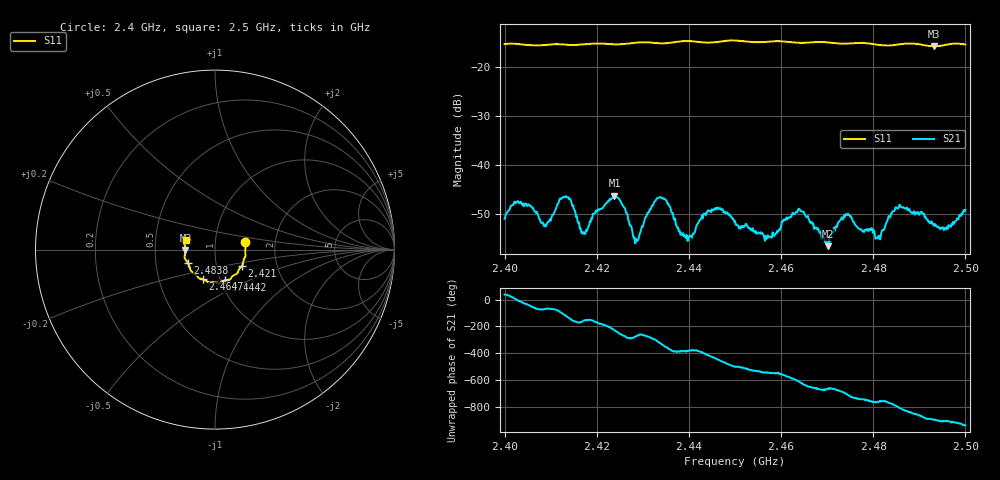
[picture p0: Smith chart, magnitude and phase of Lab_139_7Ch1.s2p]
# Hz S RI R 50
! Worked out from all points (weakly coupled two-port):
!   601 points, 2.4 GHz to 2.5 GHz, reference 50 ohm
!   highest |S21| = -46.28 dB at 2.4238 GHz (marker M1); lowest = -56.6 dB at 2.4702 GHz (marker M2)
!   lowest |S11| = -15.7 dB at 2.4932 GHz (marker M3), VSWR 1.39, Z = 35.9 - j0.12 ohm
!   |S11| at or under -10 dB: start of sweep to end of sweep
!   S12 and S22 are empty: the file has one direction only
!   S11 on the Smith chart (normalised r, x): 2.4 GHz: 1.40, +0.12; 2.421 GHz: 1.33, -0.24; 2.4442 GHz: 1.05, -0.37; 2.4647 GHz: 0.83, -0.28; 2.4838 GHz: 0.73, -0.11; 2.5 GHz: 0.71, +0.08
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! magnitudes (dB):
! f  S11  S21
! 2.4 GHz  -15.2  -51.0
! 2.403 GHz  -15.2  -47.5
! 2.409 GHz  -15.4  -52.5
! 2.4133 GHz  -15.3  -46.4
! 2.4167 GHz  -15.3  -53.9
! 2.421 GHz  -15.1  -49.0
! 2.4238 GHz  -15.2  -46.3
! 2.4285 GHz  -14.9  -55.1
! 2.4333 GHz  -15.0  -46.8
! 2.4393 GHz  -14.6  -54.9
! 2.4442 GHz  -14.9  -49.3
! 2.45 GHz  -14.5  -51.5
! 2.457 GHz  -14.7  -54.8
! 2.4647 GHz  -14.9  -49.5
! 2.4667 GHz  -14.8  -52.0
! 2.4702 GHz  -14.9  -56.6
! 2.4742 GHz  -15.1  -50.2
! 2.481 GHz  -15.3  -55.1
! 2.4833 GHz  -15.5  -50.5
! 2.4838 GHz  -15.5  -50.0
! 2.4932 GHz  -15.7  -52.4
! 2.5 GHz  -15.3  -49.2
